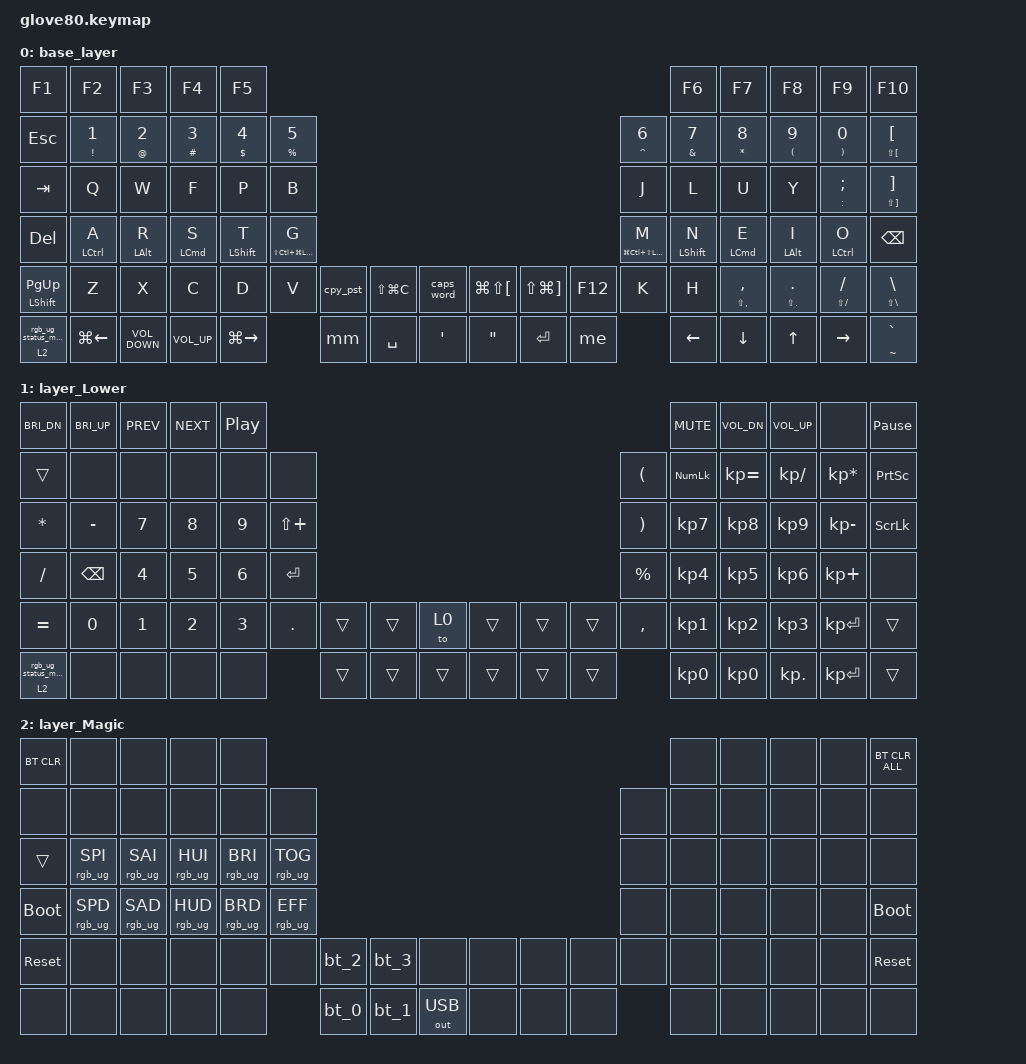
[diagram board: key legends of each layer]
/*
 * Copyright (c) 2020 The ZMK Contributors
 * Copyright (c) 2022 Innaworks Development Limited, trading as MoErgo
 *
 * SPDX-License-Identifier: MIT
 */
/* THIS FILE WAS GENERATED BY GLOVE80 LAYOUT EDITOR
 *
 * This file was generated automatically. You may or may not want to
 * edit it directly.
 */

#include <behaviors.dtsi>

/* Include all behaviour includes needed by system behaviors/macros */
/* Include behaviour includes needed by key binds - automatically generated */

#include <dt-bindings/zmk/bt.h>
#include <dt-bindings/zmk/keys.h>
#include <dt-bindings/zmk/outputs.h>
#include <dt-bindings/zmk/rgb.h>

/ {
    /* Glove80 system behavior & macros */

    behaviors {
        // For the "layer" key, it'd nice to be able to use it as either a shift or a toggle.
        // Configure it as a tap dance, so the first tap (or hold) is a &mo and the second tap is a &to

        lower: tap_dance_0 {
            compatible = "zmk,behavior-tap-dance";
            label = "LAYER_TAP_DANCE";
            #binding-cells = <0>;
            tapping-term-ms = <200>;
            bindings = <&mo 1>, <&to 1>;
        };
        cpy_pst: cpy_pst {
            compatible = "zmk,behavior-tap-dance";
            label = "CPY_PST";
            #binding-cells = <0>;
            bindings = <&kp LG(C)>, <&kp LG(V)>;

            tapping-term-ms = <125>;
        };
        hml: hml {
            compatible = "zmk,behavior-hold-tap";
            label = "HML";
            bindings = <&kp>, <&kp>;

            #binding-cells = <2>;
            tapping-term-ms = <280>;
            quick-tap-ms = <175>;
            flavor = "balanced";
            hold-trigger-key-positions = <5 6 7 8 9 16 17 18 19 20 21 28 29 30 31 32 33 40 41 42 43 44 45 58 59 60 61 75 76 77 62 78 79 63 55 56 57 74 73 72 69 52 70 53 54 71>;
            hold-trigger-on-release;
        };
        hmr: hmr {
            compatible = "zmk,behavior-hold-tap";
            label = "HMR";
            bindings = <&kp>, <&kp>;

            #binding-cells = <2>;
            tapping-term-ms = <280>;
            quick-tap-ms = <175>;
            flavor = "balanced";
            hold-trigger-key-positions = <0 1 10 11 12 13 14 15 22 23 24 25 26 27 34 35 36 37 38 39 46 47 48 49 50 51 52 53 54 64 65 66 67 68 69 70 71 2 3 4 55 72 73 74 56 57>;
        };
        ht: ht {
            compatible = "zmk,behavior-hold-tap";
            label = "HT";
            bindings = <&kp>, <&kp>;

            #binding-cells = <2>;
            tapping-term-ms = <225>;
            quick-tap-ms = <0>;
            flavor = "tap-preferred";
        };
        mm: mm {
            compatible = "zmk,behavior-tap-dance";
            label = "MM";
            #binding-cells = <0>;
            bindings = <&ht LG(MINUS) MINUS>, <&kp LS(MINUS)>;
        };
        me: me {
            compatible = "zmk,behavior-tap-dance";
            label = "ME";
            #binding-cells = <0>;
            bindings = <&ht LG(EQUAL) EQUAL>, <&kp LS(EQUAL)>;
        };
    };

    macros {
        rgb_ug_status_macro: rgb_ug_status_macro_0 {
            label = "RGB_UG_STATUS";
            compatible = "zmk,behavior-macro";
            #binding-cells = <0>;
            bindings = <&rgb_ug RGB_STATUS>;
        };
        bt_0: bt_profile_macro_0 {
            label = "BT_0";
            compatible = "zmk,behavior-macro";
            #binding-cells = <0>;
            bindings = <&out OUT_BLE &bt BT_SEL 0>;
        };
        bt_1: bt_profile_macro_1 {
            label = "BT_1";
            compatible = "zmk,behavior-macro";
            #binding-cells = <0>;
            bindings = <&out OUT_BLE &bt BT_SEL 1>;
        };
        bt_2: bt_profile_macro_2 {
            label = "BT_2";
            compatible = "zmk,behavior-macro";
            #binding-cells = <0>;
            bindings = <&out OUT_BLE &bt BT_SEL 2>;
        };
        bt_3: bt_profile_macro_3 {
            label = "BT_3";
            compatible = "zmk,behavior-macro";
            #binding-cells = <0>;
            bindings = <&out OUT_BLE &bt BT_SEL 3>;
        };
    };

    magic: magic_hold_tap {
        compatible = "zmk,behavior-hold-tap";
        label = "MAGIC_HOLD_TAP";
        #binding-cells = <2>;
        flavor = "tap-preferred";
        tapping-term-ms = <200>;
        bindings = <&mo>, <&rgb_ug_status_macro>;
    };

    /* Custom Defined Behaviors */
    /* Automatically generated keymap */

    combos {
        compatible = "zmk,combos";

        sleep {
            bindings = <&kp LA(LG(C_EJECT))>;
            key-positions = <0 9>;
        };
    };

    keymap {
        compatible = "zmk,keymap";

        base_layer {
            bindings = <
&kp F1                  &kp F2                    &kp F3             &kp F4        &kp F5                                                                                                                                                                                  &kp F6             &kp F7               &kp F8                   &kp F9                    &kp F10
&kp ESC                 &mt EXCLAMATION NUMBER_1  &mt AT_SIGN N2     &mt HASH N3   &mt DOLLAR N4        &mt PERCENT N5                                                                                                                        &mt CARET N6                 &mt AMPS N7        &mt ASTRK N8         &mt LEFT_PARENTHESIS N9  &mt RIGHT_PARENTHESIS N0  &mt LS(LEFT_BRACKET) LEFT_BRACKET
&kp TAB                 &kp Q                     &kp W              &kp F         &kp P                &kp B                                                                                                                                 &kp J                        &kp L              &kp U                &kp Y                    &mt COLON SEMI            &mt LS(RIGHT_BRACKET) RIGHT_BRACKET
&kp DEL                 &hml LCTRL A              &hml LEFT_ALT R    &hml LCMD S   &hml LSHIFT T        &hml LS(LC(LG(LEFT_ALT))) G                                                                                                           &hmr LG(LC(LS(LEFT_ALT))) M  &hmr LEFT_SHIFT N  &hmr LEFT_COMMAND E  &hmr LEFT_ALT I          &hmr LCTRL O              &kp BSPC
&mt LEFT_SHIFT PAGE_UP  &kp Z                     &kp X              &kp C         &kp D                &kp V                        &cpy_pst  &kp LS(LG(C))  &caps_word        &kp LG(LS(LEFT_BRACKET))  &kp LS(LG(RIGHT_BRACKET))  &kp F12  &kp K                        &kp H              &mt LS(COMMA) COMMA  &mt LS(PERIOD) PERIOD    &mt LS(SLASH) SLASH       &mt LS(BACKSLASH) BACKSLASH
&magic 2 0              &kp LG(LEFT_ARROW)        &kp C_VOLUME_DOWN  &kp C_VOL_UP  &kp LG(RIGHT_ARROW)                               &mm       &kp SPACE      &kp SINGLE_QUOTE  &kp DOUBLE_QUOTES         &kp RET                    &me                                   &kp LEFT           &kp DOWN             &kp UP                   &kp RIGHT                 &mt TILDE GRAVE
            >;
        };

        layer_Lower {
            bindings = <
&kp C_BRI_DN  &kp C_BRI_UP  &kp C_PREV  &kp C_NEXT  &kp C_PP                                                                                       &kp C_MUTE  &kp C_VOL_DN  &kp C_VOL_UP  &none            &kp PAUSE_BREAK
&trans        &none         &none       &none       &none     &none                                                         &kp LEFT_PARENTHESIS   &kp KP_NUM  &kp KP_EQUAL  &kp KP_SLASH  &kp KP_MULTIPLY  &kp PRINTSCREEN
&kp ASTERISK  &kp MINUS     &kp N7      &kp N8      &kp N9    &kp LS(PLUS)                                                  &kp RIGHT_PARENTHESIS  &kp KP_N7   &kp KP_N8     &kp KP_N9     &kp KP_MINUS     &kp SCROLLLOCK
&kp SLASH     &kp BSPC      &kp N4      &kp N5      &kp N6    &kp RET                                                       &kp PERCENT            &kp KP_N4   &kp KP_N5     &kp KP_N6     &kp KP_PLUS      &none
&kp EQUAL     &kp N0        &kp N1      &kp N2      &kp N3    &kp PERIOD    &trans  &trans  &to 0   &trans  &trans  &trans  &kp COMMA              &kp KP_N1   &kp KP_N2     &kp KP_N3     &kp KP_ENTER     &trans
&magic 2 0    &none         &none       &none       &none                   &trans  &trans  &trans  &trans  &trans  &trans                         &kp KP_N0   &kp KP_N0     &kp KP_DOT    &kp KP_ENTER     &trans
            >;
        };

        layer_Magic {
            bindings = <
&bt BT_CLR   &none            &none            &none            &none                                                                                     &none  &none  &none  &none  &bt BT_CLR_ALL
&none        &none            &none            &none            &none            &none                                                             &none  &none  &none  &none  &none  &none
&trans       &rgb_ug RGB_SPI  &rgb_ug RGB_SAI  &rgb_ug RGB_HUI  &rgb_ug RGB_BRI  &rgb_ug RGB_TOG                                                   &none  &none  &none  &none  &none  &none
&bootloader  &rgb_ug RGB_SPD  &rgb_ug RGB_SAD  &rgb_ug RGB_HUD  &rgb_ug RGB_BRD  &rgb_ug RGB_EFF                                                   &none  &none  &none  &none  &none  &bootloader
&sys_reset   &none            &none            &none            &none            &none            &bt_2  &bt_3  &none         &none  &none  &none  &none  &none  &none  &none  &none  &sys_reset
&none        &none            &none            &none            &none                             &bt_0  &bt_1  &out OUT_USB  &none  &none  &none         &none  &none  &none  &none  &none
            >;
        };
    };
};
